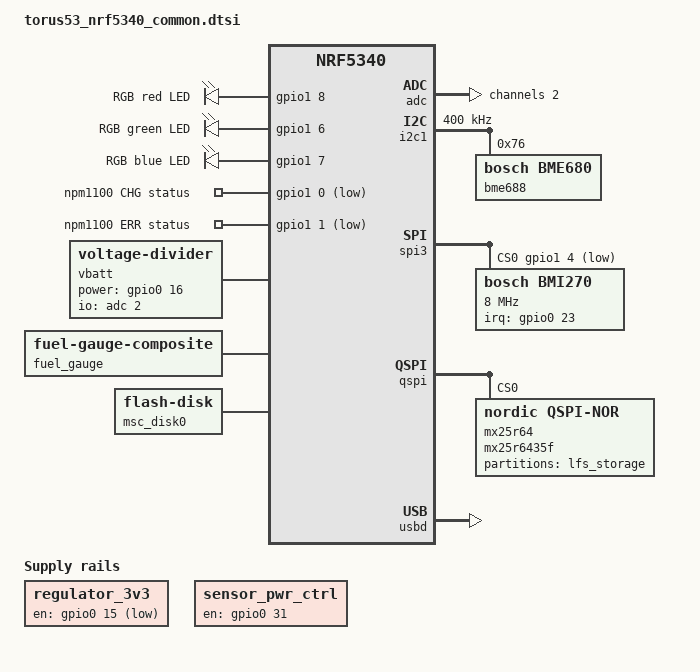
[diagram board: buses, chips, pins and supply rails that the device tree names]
/*
 * Copyright (c) 2021 Nordic Semiconductor ASA
 *
 * SPDX-License-Identifier: Apache-2.0
 */
#include "torus53_nrf5340_common-pinctrl.dtsi"
#include <zephyr/dt-bindings/input/input-event-codes.h>
#include <zephyr/dt-bindings/battery/battery.h>

/ {
	chosen {
		zephyr,bt-hci-ipc = &ipc0;
		zephyr,bt-hci = &bt_hci_ipc0;
		nordic,pm-ext-flash = &mx25r64;
	};

	leds {
		compatible = "gpio-leds";
		red_led: led_1 {
			gpios = <&gpio1 8 GPIO_ACTIVE_HIGH>;
			label = "RGB red LED";
		};
		green_led: led_2 {
			gpios = <&gpio1 6 GPIO_ACTIVE_HIGH>;
			label = "RGB green LED";
		};
		blue_led: led_3 {
			gpios = <&gpio1 7 GPIO_ACTIVE_HIGH>;
			label = "RGB blue LED";
		};
	};

	npm1100_status: npm1100_status {
		compatible = "gpio-keys"; 
		label = "npm1100 status lines";

		chg_pin: chg_pin {
			gpios = <&gpio1 0 (GPIO_ACTIVE_LOW | GPIO_PULL_UP)>; 
			label = "npm1100 CHG status";
		};

		err_pin: err_pin {
			gpios = <&gpio1 1 (GPIO_ACTIVE_LOW | GPIO_PULL_UP)>;
			label = "npm1100 ERR status"; 
		};
	};

	npm1100_force_pwm_mode: npm1100_force_pwm_mode {
		compatible = "regulator-fixed";
		regulator-name = "npm1100_force_pwm_mode";
		enable-gpios = <&gpio0 8 GPIO_ACTIVE_HIGH>;
		status = "disabled";
		regulator-boot-on;
	};

	vbatt: vbatt {
		compatible = "voltage-divider";
		io-channels = <&adc 2>;
		output-ohms = <180000>;
		full-ohms = <(1500000 + 180000)>;
		power-gpios = <&gpio0 16 0>;
	};

	fuel_gauge: fuel_gauge {
		compatible = "zephyr,fuel-gauge-composite";
		battery-voltage = <&vbatt>;
		device-chemistry = "lithium-ion-polymer";
		ocv-capacity-table-0 = <BATTERY_OCV_CURVE_LITHIUM_ION_POLYMER_DEFAULT>;
		charge-full-design-microamp-hours = <1350000>;
	};

	regulator_3v3: regulator-3v3-ctrl {
		compatible = "regulator-fixed";
		regulator-name = "ncp114";
		enable-gpios = <&gpio0 15 GPIO_ACTIVE_LOW>;
		regulator-boot-on;
	};

	sensor_pwr_ctrl: sensor-pwr-ctrl {
		compatible = "regulator-fixed";
		regulator-name = "tck106ag";
		enable-gpios = <&gpio0 31 GPIO_ACTIVE_HIGH>;
		regulator-boot-on;
	};

	aliases {
		led0 = &red_led;
		led1 = &green_led;
		led2 = &blue_led;
		watchdog0 = &wdt0;
		npm1100chg = &chg_pin;
		npm1100err = &err_pin; 
	};

	msc_disk0: msc_disk0 {
		compatible = "zephyr,flash-disk";
		partition = <&littlefs_storage>;
		disk-name = "NOR";
		cache-size = <4096>; 
	};
};

&adc {
	#address-cells = <1>;
	#size-cells = <0>;
	status = "okay";

	channel@2 {
		reg = <2>;
		zephyr,gain = "ADC_GAIN_1";
		zephyr,reference = "ADC_REF_INTERNAL";
		zephyr,vref-mv = <600>;
		zephyr,acquisition-time = <ADC_ACQ_TIME_DEFAULT>;
		zephyr,resolution = <12>;
		zephyr,input-positive = <NRF_SAADC_AIN2>;
	};
};

&gpiote {
	status = "okay";
};

&gpio0 {
	status = "okay";
};

&gpio1 {
	status = "okay";
};

&i2c1 {
	compatible = "nordic,nrf-twim";
	status = "okay";
	clock-frequency = <I2C_BITRATE_FAST>;

	pinctrl-0 = <&i2c1_default>;
	pinctrl-1 = <&i2c1_sleep>;
	pinctrl-names = "default", "sleep";

	bme688: bme688@76 {
		compatible = "bosch,bme680";
		reg = <0x76>;
	};
};

&spi3 {
	compatible = "nordic,nrf-spim";
	status = "okay";
	cs-gpios = <&gpio1 4  GPIO_ACTIVE_LOW>;

	pinctrl-0 = <&spi3_default>;
	pinctrl-1 = <&spi3_sleep>;
	pinctrl-names = "default", "sleep";

	bmi270: spi-dev-bmi270@0 {
		compatible = "bosch,bmi270";
		status = "okay";
		spi-max-frequency = <8000000>;
		reg = <0>;
		irq-gpios=<&gpio0 23 GPIO_ACTIVE_HIGH>; 
	};
};

&qspi {
	status = "okay";
	pinctrl-0 = <&qspi_default>;
	pinctrl-1 = <&qspi_sleep>;
	pinctrl-names = "default", "sleep";
	mx25r64: mx25r6435f@0 {
		compatible = "nordic,qspi-nor";
		reg = <0>;
		/* MX25R64 supports only pp and pp4io */
		/* Torus:53 supports only pp and pp2o options */
		writeoc = "pp";
		/* MX25R64 supports all readoc options */
		/* Torus:53 supports only fastread and read2io options */
		readoc = "read2io";
		sck-frequency = <8000000>;
		jedec-id = [c2 28 17];
		sfdp-bfp = [
			e5 20 f1 ff  ff ff ff 03  44 eb 08 6b  08 3b 04 bb
			ee ff ff ff  ff ff 00 ff  ff ff 00 ff  0c 20 0f 52
			10 d8 00 ff  23 72 f5 00  82 ed 04 cc  44 83 68 44
			30 b0 30 b0  f7 c4 d5 5c  00 be 29 ff  f0 d0 ff ff
		];
		size = <67108864>;
		has-dpd;
		t-enter-dpd = <10000>;
		t-exit-dpd = <35000>;

		/* Below partition is dedicated for littlefs data logging */
		/* Use this partition together with partition manager pm_static.yml for partition definition */
		partitions {
			compatible = "fixed-partitions";

			#address-cells = <1>;
			#size-cells = <1>;

			littlefs_storage: partition@120000 {
				label = "lfs_storage";
				reg = <0x00120000 0x006E0000>; 
			};
		};
	};
};

&uart0 {
	/* Disabled by default */
	current-speed = <115200>;
	status = "disabled";
	pinctrl-0 = <&uart0_default>;
	pinctrl-1 = <&uart0_sleep>;
	pinctrl-names = "default", "sleep";
};

zephyr_udc0: &usbd {
	compatible = "nordic,nrf-usbd";
	status = "okay";
};

/* Include default memory partition configuration file */
#include <common/nordic/nrf5340_cpuapp_partition.dtsi>
